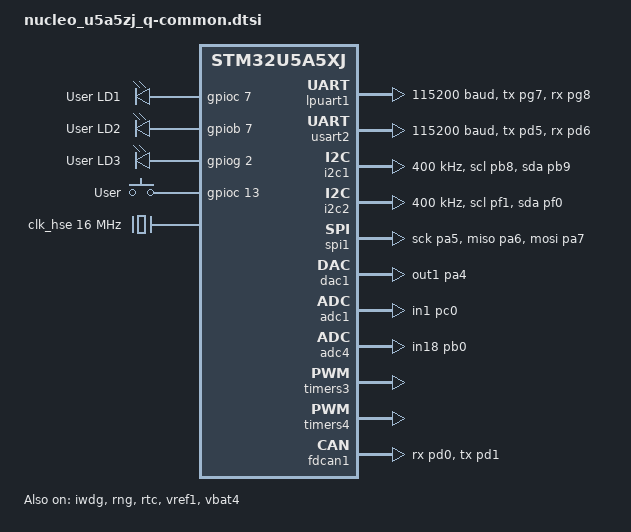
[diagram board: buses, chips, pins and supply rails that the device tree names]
/*
 * Copyright (c) 2023-2024 STMicroelectronics
 *
 * SPDX-License-Identifier: Apache-2.0
 */

#include <st/u5/stm32u5a5Xj.dtsi>
#include <st/u5/stm32u5a5zjtxq-pinctrl.dtsi>
#include "arduino_r3_connector.dtsi"
#include <zephyr/dt-bindings/input/input-event-codes.h>

/ {
	leds: leds {
		compatible = "gpio-leds";
		green_led_1: led_1 {
			gpios = <&gpioc 7 GPIO_ACTIVE_HIGH>;
			label = "User LD1";
		};
		blue_led_1: led_2 {
			gpios = <&gpiob 7 GPIO_ACTIVE_HIGH>;
			label = "User LD2";
		};
		red_led_1: led_3 {
			gpios = <&gpiog 2 GPIO_ACTIVE_HIGH>;
			label = "User LD3";
		};
	};

	gpio_keys {
		compatible = "gpio-keys";
		user_button: button {
			label = "User";
			gpios = <&gpioc 13 GPIO_ACTIVE_HIGH>;
			zephyr,code = <INPUT_KEY_0>;
		};
	};

	pwmleds: pwmleds {
		compatible = "pwm-leds";
		status = "disabled";

		pwm_led_1: green_led_1 {
			pwms = <&pwm3 2 PWM_MSEC(20) PWM_POLARITY_NORMAL>;
			label = "green led";
		};

		pwm_led_2: blue_led_1 {
			pwms = <&pwm4 2 PWM_MSEC(20) PWM_POLARITY_NORMAL>;
			label = "blue led";
		};
	};
};

&clk_hsi48 {
	status = "okay";
};

/* This board has a 16MHz crystal attached */
&clk_hse {
	clock-frequency = <DT_FREQ_M(16)>;
	status = "okay";
};

&clk_lse {
	status = "okay";
};

&pll1 {
	/* HSE 16MHz source, outputting 160MHz to sysclk and apbclk */
	div-m = <4>; /* input divisor */
	mul-n = <80>; /* VCO multiplication factor */
	div-q = <2>; /* system clock divisor */
	div-r = <2>; /* peripheral clock divisor */
	clocks = <&clk_hse>;
	status = "okay";
};

&rcc {
	clocks = <&pll1>;
	clock-frequency = <DT_FREQ_M(160)>;
	ahb-prescaler = <1>;
	apb1-prescaler = <1>;
	apb2-prescaler = <1>;
	apb3-prescaler = <1>;
};

&lpuart1 {
	pinctrl-0 = <&lpuart1_tx_pg7 &lpuart1_rx_pg8>;
	pinctrl-names = "default";
	current-speed = <115200>;
	status = "okay";
};

&usart2 {
	pinctrl-0 = <&usart2_tx_pd5 &usart2_rx_pd6>;
	pinctrl-names = "default";
	current-speed = <115200>;
	status = "okay";
};

&i2c1 {
	pinctrl-0 = <&i2c1_scl_pb8 &i2c1_sda_pb9>;
	pinctrl-names = "default";
	status = "okay";
	clock-frequency = <I2C_BITRATE_FAST>;
};

&i2c2 {
	pinctrl-0 = <&i2c2_scl_pf1 &i2c2_sda_pf0>;
	pinctrl-names = "default";
	status = "okay";
	clock-frequency = <I2C_BITRATE_FAST>;
};

&spi1 {
	pinctrl-0 = <&spi1_sck_pa5 &spi1_miso_pa6 &spi1_mosi_pa7>;
	pinctrl-names = "default";
	cs-gpios = <&gpiod 14 GPIO_ACTIVE_LOW>;
	status = "okay";
};

&dac1 {
	pinctrl-0 = <&dac1_out1_pa4>;
	pinctrl-names = "default";
	status = "okay";
};

&adc1 {
	pinctrl-0 = <&adc1_in1_pc0>;
	pinctrl-names = "default";
	st,adc-clock-source = "ASYNC";
	st,adc-prescaler = <4>;
	status = "okay";
};

&adc4 {
	pinctrl-0 = <&adc4_in18_pb0>;
	pinctrl-names = "default";
	st,adc-clock-source = "ASYNC";
	st,adc-prescaler = <4>;
	status = "okay";
};

&timers3 {
	st,prescaler = <10000>;
	status = "okay";

	pwm3: pwm {
	pinctrl-0 = <&tim3_ch2_pc7>;
		pinctrl-names = "default";
		status = "okay";
	};
};

&timers4 {
	st,prescaler = <10000>;
	status = "okay";

	pwm4: pwm {
		pinctrl-0 = <&tim4_ch2_pb7>;
		pinctrl-names = "default";
		status = "okay";
	};
};

&iwdg {
	status = "okay";
};

&rng {
	status = "okay";
};

&fdcan1 {
	clocks = <&rcc STM32_CLOCK_BUS_APB1_2 0x00000200>,
		 <&rcc STM32_SRC_PLL1_Q FDCAN1_SEL(1)>;
	pinctrl-0 = <&fdcan1_rx_pd0 &fdcan1_tx_pd1>;
	pinctrl-names = "default";
	status = "okay";
};

&rtc {
	clocks = <&rcc STM32_CLOCK_BUS_APB3 0x00200000>,
		 <&rcc STM32_SRC_LSE RTC_SEL(1)>;
	status = "okay";
};

&vref1 {
	status = "okay";
};

&vbat4 {
	status = "okay";
};
